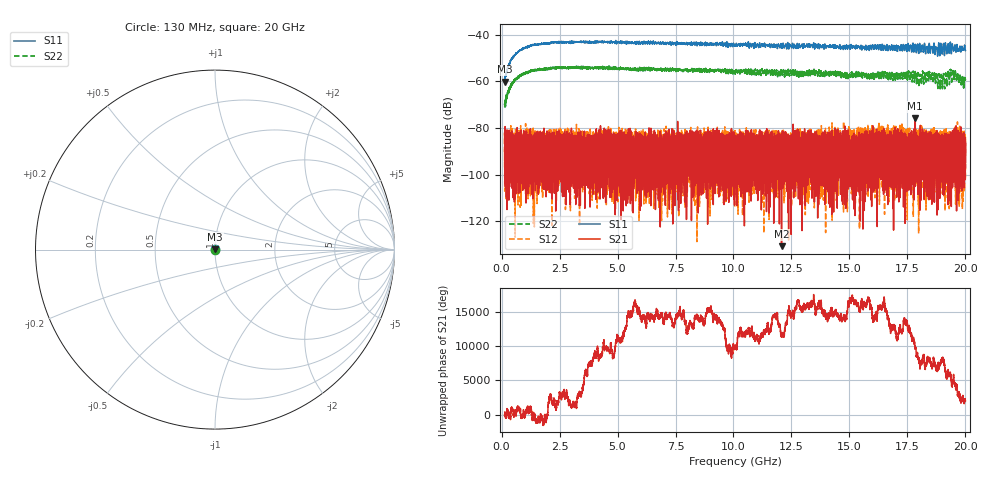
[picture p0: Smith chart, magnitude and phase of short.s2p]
!Created with skrf (http://scikit-rf.org).
# GHz S RI R 50.0
!freq ReS11 ImS11 ReS21 ImS21 ReS12 ImS12 ReS22 ImS22
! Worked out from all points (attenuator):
!   20013 points, 130 MHz to 20 GHz, reference 50 ohm
!   highest |S21| = -75.84 dB at 17.84 GHz (marker M1); lowest = -130.6 dB at 12.07 GHz (marker M2)
!   lowest |S11| = -60.1 dB at 130 MHz (marker M3), VSWR 1.00, Z = 50 + j0.0931 ohm
!   |S11| at or under -10 dB: start of sweep to end of sweep
!   |S22| runs from -71.2 to -53.4 dB; largest |S21 - S12| = 0.0002
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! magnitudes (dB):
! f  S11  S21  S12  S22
! 130 MHz  -60.1  -86.4  -90.5  -69.7
! 320 MHz  -52.5  -86.2  -106.2  -63.2
! 470 MHz  -50.1  -95.5  -92.2  -60.6
! 717 MHz  -47.2  -92.7  -93.8  -58.0
! 989 MHz  -45.6  -93.9  -89.5  -56.2
! 2.218 GHz  -43.2  -92.7  -88.8  -54.2
! 3.442 GHz  -43.1  -84.5  -84.6  -53.8
! 6.754 GHz  -43.2  -89.0  -95.1  -54.8
! 10.06 GHz  -44.4  -89.6  -85.3  -56.6
! 12.07 GHz  -44.7  -130.6  -90.9  -55.8
! 13.38 GHz  -44.4  -88.1  -82.7  -55.5
! 14.46 GHz  -44.8  -87.0  -93.3  -57.0
! 14.94 GHz  -45.4  -93.3  -92.4  -58.7
! 16.69 GHz  -45.2  -103.1  -105.6  -58.4
! 17.59 GHz  -46.6  -90.2  -96.6  -57.8
! 17.84 GHz  -44.2  -75.8  -86.4  -55.7
! 18.5 GHz  -45.9  -97.7  -84.8  -59.0
! 19.01 GHz  -46.7  -97.2  -90.7  -62.8
! 19.51 GHz  -46.1  -88.8  -89.3  -59.2
! 19.82 GHz  -46.2  -99.9  -97.0  -61.1
! 19.87 GHz  -45.7  -88.3  -82.5  -58.3
! 20 GHz  -46.8  -91.6  -83.7  -59.2
